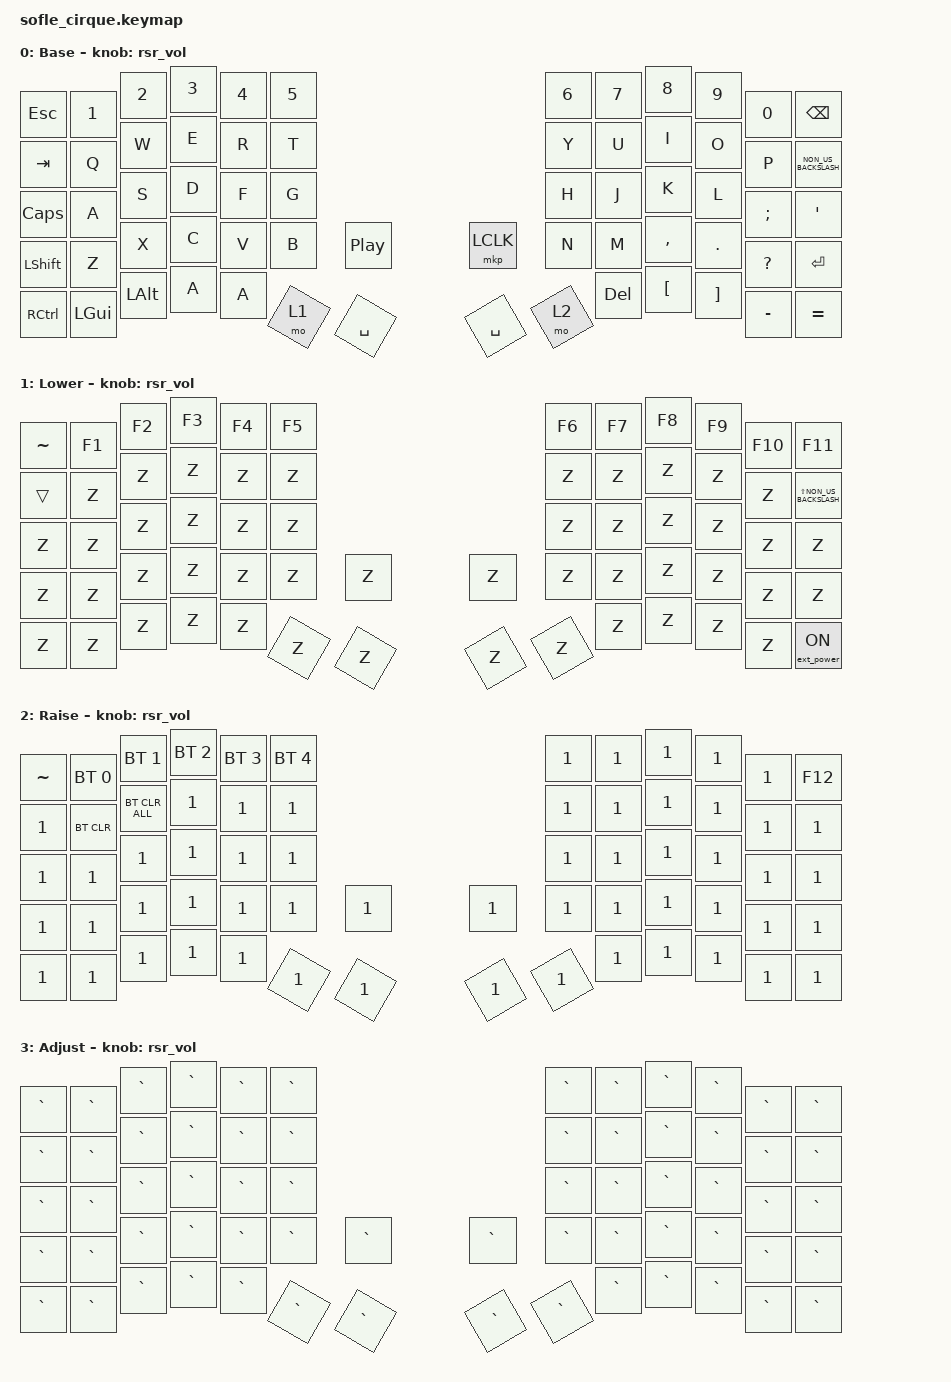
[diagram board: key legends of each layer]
#define BASE 0
#define LOWER 1
#define RAISE 2
#define ADJUST 3

#include <zephyr/dt-bindings/input/input-event-codes.h>
#include <behaviors/runtime_macro.dtsi>
#include <behaviors/runtime-sensor-rotate.dtsi>
#include <behaviors.dtsi>
#include <dt-bindings/zmk/bt.h>
#include <dt-bindings/zmk/ext_power.h>
#include <dt-bindings/zmk/keys.h>
#include <dt-bindings/zmk/pointing.h>

&mmv {
    time-to-max-speed-ms = <500>;
    acceleration-exponent = <1>;
};

&msc {
    time-to-max-speed-ms = <100>;
    acceleration-exponent = <1>;
};

/ {
    behaviors {
        rsr_vol: rsr_vol {
            compatible = "zmk,behavior-runtime-sensor-rotate";
            #sensor-binding-cells = <0>;
            tap-ms = <5>;
            cw-binding = <&kp C_VOL_UP>;
            ccw-binding = <&kp C_VOL_DN>;
        };
    };
};

/ {
    combos {
        compatible = "zmk,combos";

        flash {
            bindings = <&bootloader>;
            key-positions = <0 13>;
        };
    };

    keymap {
        compatible = "zmk,keymap";

        BASE {
            display-name = "Base";
            bindings = <
&kp ESCAPE      &kp N1        &kp N2        &kp N3  &kp N4  &kp N5                               &kp N6  &kp N7      &kp N8            &kp N9             &kp N0         &kp BACKSPACE
&kp TAB         &kp Q         &kp W         &kp E   &kp R   &kp T                                &kp Y   &kp U       &kp I             &kp O              &kp P          &kp NON_US_BACKSLASH
&kp CLCK        &kp A         &kp S         &kp D   &kp F   &kp G                                &kp H   &kp J       &kp K             &kp L              &kp SEMICOLON  &kp SQT
&kp LEFT_SHIFT  &kp Z         &kp X         &kp C   &kp V   &kp B   &kp C_PLAY_PAUSE  &mkp LCLK  &kp N   &kp M       &kp COMMA         &kp PERIOD         &kp QUESTION   &kp ENTER
&kp RCTRL       &kp LEFT_GUI  &kp LEFT_ALT  &kp A   &kp A   &mo 1   &kp SPACE         &kp SPACE  &mo 2   &kp DELETE  &kp LEFT_BRACKET  &kp RIGHT_BRACKET  &kp MINUS      &kp EQUAL
            >;

            sensor-bindings = <&rsr_vol>;
        };

        LOWER {
            display-name = "Lower";
            bindings = <
&kp TILDE  &kp F1  &kp F2  &kp F3  &kp F4  &kp F5                &kp F6  &kp F7  &kp F8  &kp F9  &kp F10  &kp F11
&trans     &kp Z   &kp Z   &kp Z   &kp Z   &kp Z                 &kp Z   &kp Z   &kp Z   &kp Z   &kp Z    &kp LS(NON_US_BACKSLASH)
&kp Z      &kp Z   &kp Z   &kp Z   &kp Z   &kp Z                 &kp Z   &kp Z   &kp Z   &kp Z   &kp Z    &kp Z
&kp Z      &kp Z   &kp Z   &kp Z   &kp Z   &kp Z   &kp Z  &kp Z  &kp Z   &kp Z   &kp Z   &kp Z   &kp Z    &kp Z
&kp Z      &kp Z   &kp Z   &kp Z   &kp Z   &kp Z   &kp Z  &kp Z  &kp Z   &kp Z   &kp Z   &kp Z   &kp Z    &ext_power EP_ON
            >;

            sensor-bindings = <&rsr_vol>;
        };

        RAISE {
            display-name = "Raise";
            bindings = <
&kp TILDE  &bt BT_SEL 0  &bt BT_SEL 1    &bt BT_SEL 2  &bt BT_SEL 3  &bt BT_SEL 4                &kp 1  &kp 1  &kp 1  &kp 1  &kp 1  &kp F12
&kp 1      &bt BT_CLR    &bt BT_CLR_ALL  &kp 1         &kp 1         &kp 1                       &kp 1  &kp 1  &kp 1  &kp 1  &kp 1  &kp 1
&kp 1      &kp 1         &kp 1           &kp 1         &kp 1         &kp 1                       &kp 1  &kp 1  &kp 1  &kp 1  &kp 1  &kp 1
&kp 1      &kp 1         &kp 1           &kp 1         &kp 1         &kp 1         &kp 1  &kp 1  &kp 1  &kp 1  &kp 1  &kp 1  &kp 1  &kp 1
&kp 1      &kp 1         &kp 1           &kp 1         &kp 1         &kp 1         &kp 1  &kp 1  &kp 1  &kp 1  &kp 1  &kp 1  &kp 1  &kp 1
            >;

            sensor-bindings = <&rsr_vol>;
        };

        ADJUST {
            display-name = "Adjust";
            bindings = <
&kp GRAVE  &kp GRAVE  &kp GRAVE  &kp GRAVE  &kp GRAVE  &kp GRAVE                        &kp GRAVE  &kp GRAVE  &kp GRAVE  &kp GRAVE  &kp GRAVE  &kp GRAVE
&kp GRAVE  &kp GRAVE  &kp GRAVE  &kp GRAVE  &kp GRAVE  &kp GRAVE                        &kp GRAVE  &kp GRAVE  &kp GRAVE  &kp GRAVE  &kp GRAVE  &kp GRAVE
&kp GRAVE  &kp GRAVE  &kp GRAVE  &kp GRAVE  &kp GRAVE  &kp GRAVE                        &kp GRAVE  &kp GRAVE  &kp GRAVE  &kp GRAVE  &kp GRAVE  &kp GRAVE
&kp GRAVE  &kp GRAVE  &kp GRAVE  &kp GRAVE  &kp GRAVE  &kp GRAVE  &kp GRAVE  &kp GRAVE  &kp GRAVE  &kp GRAVE  &kp GRAVE  &kp GRAVE  &kp GRAVE  &kp GRAVE
&kp GRAVE  &kp GRAVE  &kp GRAVE  &kp GRAVE  &kp GRAVE  &kp GRAVE  &kp GRAVE  &kp GRAVE  &kp GRAVE  &kp GRAVE  &kp GRAVE  &kp GRAVE  &kp GRAVE  &kp GRAVE
            >;

            sensor-bindings = <&rsr_vol>;
        };
    };
};
